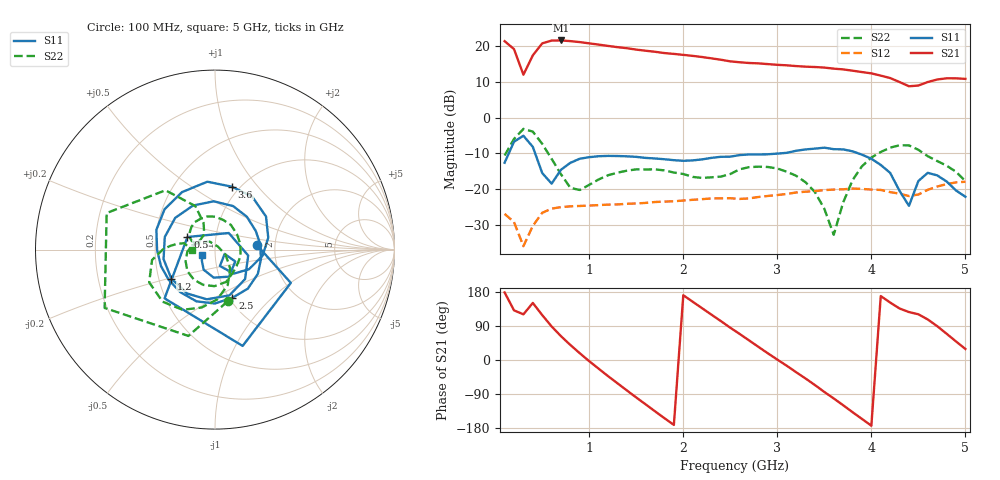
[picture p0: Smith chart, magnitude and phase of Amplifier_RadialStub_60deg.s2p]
! Touchstone file from project Amplifier
! Exported from Circuit Design 2018.0.0
! Variables:
!  $width = 2.99067mm
# GHZ S MA R 50.000000
! Modal data exported
! Port[1] = Port1
! Port[2] = Port2
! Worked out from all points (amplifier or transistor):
!   50 points, 100 MHz to 5 GHz, reference 50 ohm
!   highest |S21| = 21.5 dB at 700 MHz (marker M1)
!   |S21| within 3 dB of that: 434.4 MHz to 1.647 GHz (1.212 GHz wide, 117 % of centre)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
!   unconditionally stable (mu >= 1): start of sweep to end of sweep
!   at 900 MHz: K = 1.05, MAG = 21.5 dB, |S12| = -24.6 dB
!   at 2.6 GHz: K = 1.24, MAG = 16.1 dB, |S12| = -22.7 dB
!   at 5 GHz: K = 1.32, MAG = 10.9 dB, |S12| = -17.9 dB
!   S11 on the Smith chart (normalised r, x): 100 MHz: 1.61, +0.09; 500 MHz: 0.73, +0.11; 1.2 GHz: 0.58, -0.21; 2.5 GHz: 1.03, -0.60; 3.6 GHz: 0.92, +0.74; 5 GHz: 0.86, -0.06
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0.1  0.2349 6.1  11.61 178.3  0.04552 6.9  0.2966 -76.3
! Port Impedance50 0 50 0
0.2  0.4615 -23.7  8.991 131.0  0.03505 -32.4  0.5035 -107.1
0.3  0.5584 -74.0  3.956 120.5  0.01615 -35.3  0.6956 -152.1
0.4  0.3907 -136.0  7.363 150.6  0.03095 2.6  0.637 161.3
0.5  0.1686 155.4  10.82 118.5  0.04708 -22.4  0.4304 129.8
0.6  0.1201 50.3  11.83 88.6  0.05385 -45.5  0.2662 114.3
0.7  0.1878 -10.1  11.88 62.7  0.0566 -64.8  0.1619 113.2
0.8  0.2346 -44.4  11.63 39.5  0.05794 -81.8  0.1047 124.9
1  0.2808 -99.4  10.82 -3.2  0.05941 -112.5  0.1156 161.6
1.2  0.2923 -146.4  9.97 -42.6  0.06128 -141.5  0.1572 154.1
1.5  0.2836 141.5  8.851 -99.0  0.06359 176.7  0.19 126.4
1.8  0.2626 67.4  7.925 -153.6  0.06749 134.9  0.1836 89.7
2.2  0.2615 -11.4  6.978 136.7  0.07299 79.5  0.1443 11.5
2.5  0.2853 -70.2  6.073 85.2  0.07514 38.3  0.1635 -53.1
2.6  0.3003 -90.1  5.898 68.6  0.07354 25.1  0.1904 -71.1
3  0.3148 -163.1  5.435 1.1  0.08332 -30.9  0.1953 -142.0
3.4  0.3693 119.8  5.064 -66.1  0.09437 -88.6  0.09172 152.8
3.6  0.363 74.9  4.807 -101.5  0.09932 -120.0  0.02326 48.6
3.9  0.304 12.6  4.309 -155.4  0.1015 -166.6  0.2095 -70.2
4.2  0.1697 -52.1  3.555 151.6  0.09151 146.1  0.3809 -118.3
4.7  0.1565 -92.6  3.392 89.3  0.1093 93.0  0.2479 175.0
5  0.07887 -156.1  3.461 29.1  0.1276 37.8  0.1302 179.8
